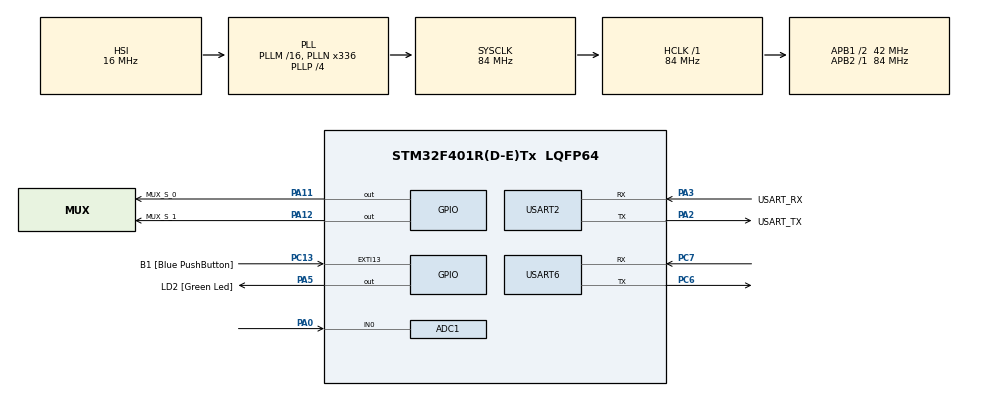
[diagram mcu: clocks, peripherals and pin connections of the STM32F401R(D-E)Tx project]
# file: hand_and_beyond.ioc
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ADC1.Channel-0\#ChannelRegularConversion=ADC_CHANNEL_0
ADC1.NbrOfConversionFlag=1
ADC1.Rank-0\#ChannelRegularConversion=1
ADC1.Resolution=ADC_RESOLUTION_10B
ADC1.SamplingTime-0\#ChannelRegularConversion=ADC_SAMPLETIME_3CYCLES
ADC1.master=1
FREERTOS.BinarySemaphores01=handFlex,Dynamic,NULL;releaseHand,Dynamic,NULL
FREERTOS.Tasks01=defaultTask,0,128,StartDefaultTask,Default,NULL,Dynamic,NULL,NULL;motorTask,-3,128,MotorTask,Default,NULL,Dynamic,NULL,NULL
Mcu.Family=STM32F4
Mcu.Name=STM32F401R(D-E)Tx
Mcu.Package=LQFP64
NVIC.PriorityGroup=NVIC_PRIORITYGROUP_4
PA0-WKUP.Signal=ADCx_IN0
PA11.GPIO_Label=MUX_S_0
PA11.Signal=GPIO_Output
PA12.GPIO_Label=MUX_S_1
PA12.Signal=GPIO_Output
PA13.GPIO_Label=TMS
PA13.Signal=SYS_JTMS-SWDIO
PA14.GPIO_Label=TCK
PA14.Signal=SYS_JTCK-SWCLK
PA2.GPIO_Label=USART_TX
PA2.GPIO_Mode=GPIO_MODE_AF_PP
PA2.GPIO_PuPd=GPIO_NOPULL
PA2.GPIO_Speed=GPIO_SPEED_FREQ_LOW
PA2.Mode=Asynchronous
PA2.Signal=USART2_TX
PA3.GPIO_Label=USART_RX
PA3.GPIO_Mode=GPIO_MODE_AF_PP
PA3.GPIO_PuPd=GPIO_NOPULL
PA3.GPIO_Speed=GPIO_SPEED_FREQ_LOW
PA3.Mode=Asynchronous
PA3.Signal=USART2_RX
PA5.GPIO_Label=LD2 [Green Led]
PA5.GPIO_Mode=GPIO_MODE_OUTPUT_PP
PA5.GPIO_PuPd=GPIO_NOPULL
PA5.GPIO_Speed=GPIO_SPEED_FREQ_LOW
PA5.Signal=GPIO_Output
PB3.GPIO_Label=SWO
PB3.Signal=SYS_JTDO-SWO
PC13-ANTI_TAMP.GPIO_Label=B1 [Blue PushButton]
PC13-ANTI_TAMP.GPIO_ModeDefaultEXTI=GPIO_MODE_IT_FALLING
PC13-ANTI_TAMP.GPIO_PuPd=GPIO_NOPULL
PC13-ANTI_TAMP.Signal=GPXTI13
PC14-OSC32_IN.Signal=RCC_OSC32_IN
PC15-OSC32_OUT.Signal=RCC_OSC32_OUT
PC6.Mode=Asynchronous
PC6.Signal=USART6_TX
PC7.Mode=Asynchronous
PC7.Signal=USART6_RX
PH0\ -\ OSC_IN.Signal=RCC_OSC_IN
PH1\ -\ OSC_OUT.Signal=RCC_OSC_OUT
ProjectManager.HeapSize=0x200
ProjectManager.StackSize=0x400
ProjectManager.TargetToolchain=STM32CubeIDE
RCC.AHBFreq_Value=84000000
RCC.APB1CLKDivider=RCC_HCLK_DIV2
RCC.APB1Freq_Value=42000000
RCC.APB1TimFreq_Value=84000000
RCC.APB2Freq_Value=84000000
RCC.APB2TimFreq_Value=84000000
RCC.CortexFreq_Value=84000000
RCC.HCLKFreq_Value=84000000
RCC.HSE_VALUE=8000000
RCC.HSI_VALUE=16000000
RCC.LSE_VALUE=32768
RCC.PLLN=336
RCC.PLLP=RCC_PLLP_DIV4
RCC.PLLQ=7
RCC.SYSCLKFreq_VALUE=84000000
RCC.SYSCLKSource=RCC_SYSCLKSOURCE_PLLCLK
RCC.VCOOutputFreq_Value=336000000
SH.ADCx_IN0.0=ADC1_IN0,IN0
USART2.VirtualMode=VM_ASYNC
USART6.VirtualMode=VM_ASYNC
VP_FREERTOS_VS_CMSIS_V1.Mode=CMSIS_V1
board=NUCLEO-F401RE

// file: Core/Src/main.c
/* USER CODE BEGIN Header */
/**
  ******************************************************************************
  * @file           : main.c
  * @brief          : Main program body
  ******************************************************************************
  * @attention
  *
  * Copyright (c) 2023 STMicroelectronics.
  * All rights reserved.
  *
  * This software is licensed under terms that can be found in the LICENSE file
  * in the root directory of this software component.
  * If no LICENSE file comes with this software, it is provided AS-IS.
  *
  ******************************************************************************
  */
/* USER CODE END Header */
#include "main.h"
#include "cmsis_os.h"

/* USER CODE BEGIN Includes */
#include <../MotorDriver/MotorDriver.h>
#include <../EMGDriver/EMGDriver.h>
#include "stdio.h"
#include "math.h"
#include "string.h"
#include "task_init.h"
#include "PCListener.h"
/* USER CODE END Includes */

ADC_HandleTypeDef hadc1;

UART_HandleTypeDef huart2;
UART_HandleTypeDef huart6;

SemaphoreHandle_t handFlexHandle;
SemaphoreHandle_t handReleaseHandle;

/* USER CODE BEGIN PV */
SemaphoreHandle_t pclistenerHandle;
QueueHandle_t xQueue;

/* USER CODE END PV */

void SystemClock_Config(void);
static void MX_GPIO_Init(void);
static void MX_USART6_UART_Init(void);
static void MX_ADC1_Init(void);
static void MX_USART2_UART_Init(void);
void StartDefaultTask(void const * argument);
void MotorTask(void const * argument);

/* USER CODE BEGIN PFP */
void SemaphoreInit(void){
	handFlexHandle = xSemaphoreCreateBinary();
	handReleaseHandle = xSemaphoreCreateBinary();
	pclistenerHandle = xSemaphoreCreateBinary();
}
/* USER CODE END PFP */

/* USER CODE BEGIN 0 */
int _write(int file, char *ptr, int len)
{
  (void)file;
  int DataIdx;

  for (DataIdx = 0; DataIdx < len; DataIdx++)
  {
    ITM_SendChar(*ptr++);
  }
  return len;
}

/* USER CODE END 0 */

int main(void)
{

  /* MCU Configuration--------------------------------------------------------*/

  /* Reset of all peripherals, Initializes the Flash interface and the Systick. */
  HAL_Init();

  /* Configure the system clock */
  SystemClock_Config();

  /* Initialize all configured peripherals */
  MX_GPIO_Init();
  MX_USART6_UART_Init();
  MX_ADC1_Init();
  MX_USART2_UART_Init();
  /* USER CODE BEGIN 2 */
  UI_Init();
  EmgConfigInit();

  /* USER CODE END 2 */

  /* Create the semaphores(s) */

  /* USER CODE BEGIN RTOS_SEMAPHORES */
  /* add semaphores, ... */
  SemaphoreInit();
  xQueue = xQueueCreate(100, sizeof(uint8_t) * 10);  // Queue for 10 elements, each of size 4 bytes

  /* USER CODE END RTOS_SEMAPHORES */

  /* Create the thread(s) */

  /* USER CODE BEGIN RTOS_THREADS */
  MotorTaskInit();
  EmgTaskInit();
  UARTReceiveTaskInit();
  /* USER CODE END RTOS_THREADS */

  /* Start scheduler */
  vTaskStartScheduler();

  /* We should never get here as control is now taken by the scheduler */
  /* Infinite loop */
  while (1)
  {

  }
}

void SystemClock_Config(void)
{
  RCC_OscInitTypeDef RCC_OscInitStruct = {0};
  RCC_ClkInitTypeDef RCC_ClkInitStruct = {0};

  /** Configure the main internal regulator output voltage
  */
  __HAL_RCC_PWR_CLK_ENABLE();
  __HAL_PWR_VOLTAGESCALING_CONFIG(PWR_REGULATOR_VOLTAGE_SCALE2);

  /** Initializes the RCC Oscillators according to the specified parameters
  * in the RCC_OscInitTypeDef structure.
  */
  RCC_OscInitStruct.OscillatorType = RCC_OSCILLATORTYPE_HSI;
  RCC_OscInitStruct.HSIState = RCC_HSI_ON;
  RCC_OscInitStruct.HSICalibrationValue = RCC_HSICALIBRATION_DEFAULT;
  RCC_OscInitStruct.PLL.PLLState = RCC_PLL_ON;
  RCC_OscInitStruct.PLL.PLLSource = RCC_PLLSOURCE_HSI;
  RCC_OscInitStruct.PLL.PLLM = 16;
  RCC_OscInitStruct.PLL.PLLN = 336;
  RCC_OscInitStruct.PLL.PLLP = RCC_PLLP_DIV4;
  RCC_OscInitStruct.PLL.PLLQ = 7;
  if (HAL_RCC_OscConfig(&RCC_OscInitStruct) != HAL_OK)
  {
    Error_Handler();
  }

  /** Initializes the CPU, AHB and APB buses clocks
  */
  RCC_ClkInitStruct.ClockType = RCC_CLOCKTYPE_HCLK|RCC_CLOCKTYPE_SYSCLK
                              |RCC_CLOCKTYPE_PCLK1|RCC_CLOCKTYPE_PCLK2;
  RCC_ClkInitStruct.SYSCLKSource = RCC_SYSCLKSOURCE_PLLCLK;
  RCC_ClkInitStruct.AHBCLKDivider = RCC_SYSCLK_DIV1;
  RCC_ClkInitStruct.APB1CLKDivider = RCC_HCLK_DIV2;
  RCC_ClkInitStruct.APB2CLKDivider = RCC_HCLK_DIV1;

  if (HAL_RCC_ClockConfig(&RCC_ClkInitStruct, FLASH_LATENCY_2) != HAL_OK)
  {
    Error_Handler();
  }
}

static void MX_ADC1_Init(void)
{

  ADC_ChannelConfTypeDef sConfig = {0};

  /** Configure the global features of the ADC (Clock, Resolution, Data Alignment and number of conversion)
  */
  hadc1.Instance = ADC1;
  hadc1.Init.ClockPrescaler = ADC_CLOCK_SYNC_PCLK_DIV4;
  hadc1.Init.Resolution = ADC_RESOLUTION_10B;
  hadc1.Init.ScanConvMode = DISABLE;
  hadc1.Init.ContinuousConvMode = DISABLE;
  hadc1.Init.DiscontinuousConvMode = DISABLE;
  hadc1.Init.ExternalTrigConvEdge = ADC_EXTERNALTRIGCONVEDGE_NONE;
  hadc1.Init.ExternalTrigConv = ADC_SOFTWARE_START;
  hadc1.Init.DataAlign = ADC_DATAALIGN_RIGHT;
  hadc1.Init.NbrOfConversion = 1;
  hadc1.Init.DMAContinuousRequests = DISABLE;
  hadc1.Init.EOCSelection = ADC_EOC_SINGLE_CONV;
  if (HAL_ADC_Init(&hadc1) != HAL_OK)
  {
    Error_Handler();
  }

  /** Configure for the selected ADC regular channel its corresponding rank in the sequencer and its sample time.
  */
  sConfig.Channel = ADC_CHANNEL_0;
  sConfig.Rank = 1;
  sConfig.SamplingTime = ADC_SAMPLETIME_3CYCLES;
  if (HAL_ADC_ConfigChannel(&hadc1, &sConfig) != HAL_OK)
  {
    Error_Handler();
  }

}

static void MX_USART2_UART_Init(void)
{

  huart2.Instance = USART2;
  huart2.Init.BaudRate = 115200;
  huart2.Init.WordLength = UART_WORDLENGTH_8B;
  huart2.Init.StopBits = UART_STOPBITS_1;
  huart2.Init.Parity = UART_PARITY_NONE;
  huart2.Init.Mode = UART_MODE_TX_RX;
  huart2.Init.HwFlowCtl = UART_HWCONTROL_NONE;
  huart2.Init.OverSampling = UART_OVERSAMPLING_16;
  if (HAL_UART_Init(&huart2) != HAL_OK)
  {
    Error_Handler();
  }

}

static void MX_USART6_UART_Init(void)
{

  huart6.Instance = USART6;
  huart6.Init.BaudRate = 9600;
  huart6.Init.WordLength = UART_WORDLENGTH_8B;
  huart6.Init.StopBits = UART_STOPBITS_1;
  huart6.Init.Parity = UART_PARITY_NONE;
  huart6.Init.Mode = UART_MODE_TX_RX;
  huart6.Init.HwFlowCtl = UART_HWCONTROL_NONE;
  huart6.Init.OverSampling = UART_OVERSAMPLING_16;
  if (HAL_UART_Init(&huart6) != HAL_OK)
  {
    Error_Handler();
  }

}

static void MX_GPIO_Init(void)
{
  GPIO_InitTypeDef GPIO_InitStruct = {0};

  /* GPIO Ports Clock Enable */
  __HAL_RCC_GPIOC_CLK_ENABLE();
  __HAL_RCC_GPIOH_CLK_ENABLE();
  __HAL_RCC_GPIOA_CLK_ENABLE();
  __HAL_RCC_GPIOB_CLK_ENABLE();

  /*Configure GPIO pin Output Level */
  HAL_GPIO_WritePin(GPIOA, LD2_Pin|MUX_S_0_Pin|MUX_S_1_Pin, GPIO_PIN_RESET);

  /*Configure GPIO pin : B1_Pin */
  GPIO_InitStruct.Pin = B1_Pin;
  GPIO_InitStruct.Mode = GPIO_MODE_IT_FALLING;
  GPIO_InitStruct.Pull = GPIO_NOPULL;
  HAL_GPIO_Init(B1_GPIO_Port, &GPIO_InitStruct);

  /*Configure GPIO pins : LD2_Pin MUX_S_0_Pin MUX_S_1_Pin */
  GPIO_InitStruct.Pin = LD2_Pin|MUX_S_0_Pin|MUX_S_1_Pin;
  GPIO_InitStruct.Mode = GPIO_MODE_OUTPUT_PP;
  GPIO_InitStruct.Pull = GPIO_NOPULL;
  GPIO_InitStruct.Speed = GPIO_SPEED_FREQ_LOW;
  HAL_GPIO_Init(GPIOA, &GPIO_InitStruct);

}

/* USER CODE BEGIN 4 */

static void MX_NVIC_Init(void)
{
  /* USART2_IRQn interrupt configuration */
  HAL_NVIC_SetPriority(USART2_IRQn, 5, 0);
  HAL_NVIC_EnableIRQ(USART2_IRQn);

}

/* USER CODE END 4 */

void Error_Handler(void)
{
  __disable_irq();
  while (1)
  {
  }
}
